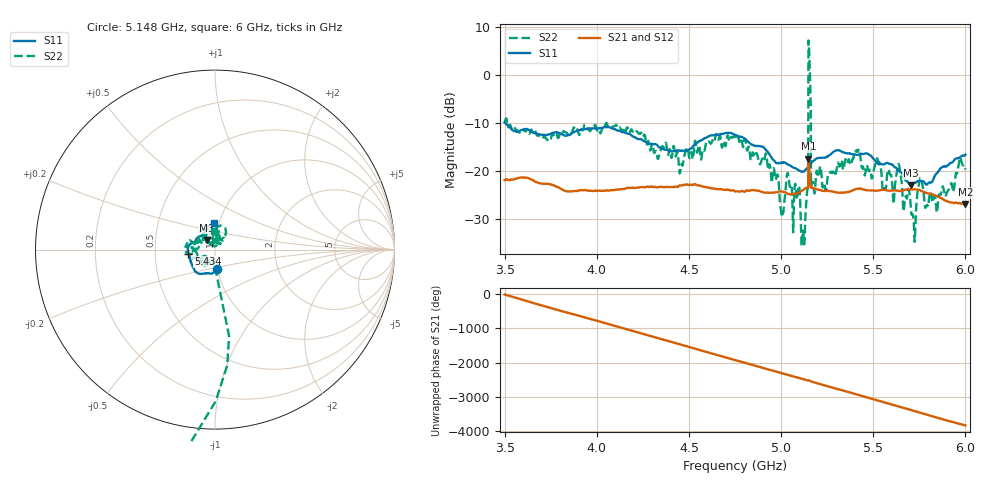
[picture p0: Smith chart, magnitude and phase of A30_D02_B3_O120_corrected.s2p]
! Created with skrf 1.9.0 (http://scikit-rf.org).
# Hz S RI R 50.0
!freq ReS11 ImS11 ReS21 ImS21 ReS12 ImS12 ReS22 ImS22
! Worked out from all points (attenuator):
!   1601 points, 3.5 GHz to 6 GHz, reference 50 ohm
!   highest |S21| = -17.49 dB at 5.148 GHz (marker M1); lowest = -27.0 dB at 6 GHz (marker M2)
!   lowest |S11| = -23.0 dB at 5.703 GHz (marker M3), VSWR 1.15, Z = 45.4 + j4.86 ohm
!   |S11| at or under -10 dB: 3.501 GHz to end of sweep
!   |S22| runs from -35.7 to 7.1 dB; largest |S21 - S12| = 0.001
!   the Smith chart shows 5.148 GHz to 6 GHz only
!   S11 on the Smith chart (normalised r, x): 5.148 GHz: 1.00, -0.22; 5.434 GHz: 0.74, -0.04; 6 GHz: 0.95, +0.28
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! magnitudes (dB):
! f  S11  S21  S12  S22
! 3.5 GHz  -10.0  -21.9  -21.9  -9.9
! 3.917 GHz  -11.5  -24.1  -24.0  -11.3
! 4.334 GHz  -15.0  -23.4  -23.3  -17.4
! 4.75 GHz  -12.5  -24.3  -24.2  -13.0
! 4.925 GHz  -16.0  -24.5  -24.5  -18.2
! 5.005 GHz  -18.3  -24.3  -24.3  -28.9
! 5.036 GHz  -18.7  -24.8  -24.7  -20.4
! 5.088 GHz  -19.7  -24.7  -24.7  -25.7
! 5.119 GHz  -20.2  -24.0  -23.9  -32.4
! 5.134 GHz  -19.7  -23.6  -23.5  -27.9
! 5.148 GHz  -19.2  -17.5  -17.5  7.1
! 5.161 GHz  -18.5  -23.1  -23.0  -6.2
! 5.167 GHz  -18.2  -23.6  -23.5  -22.7
! 5.175 GHz  -17.9  -23.6  -23.6  -22.8
! 5.434 GHz  -16.5  -23.8  -23.7  -18.5
! 5.584 GHz  -18.5  -24.1  -24.1  -19.8
! 5.641 GHz  -20.1  -24.2  -24.2  -18.9
! 5.703 GHz  -23.0  -23.9  -23.9  -27.2
! 5.719 GHz  -22.5  -23.9  -23.8  -30.4
! 5.755 GHz  -22.1  -24.1  -24.0  -21.5
! 5.848 GHz  -20.4  -25.4  -25.3  -27.8
! 6 GHz  -16.7  -27.0  -26.9  -19.8
